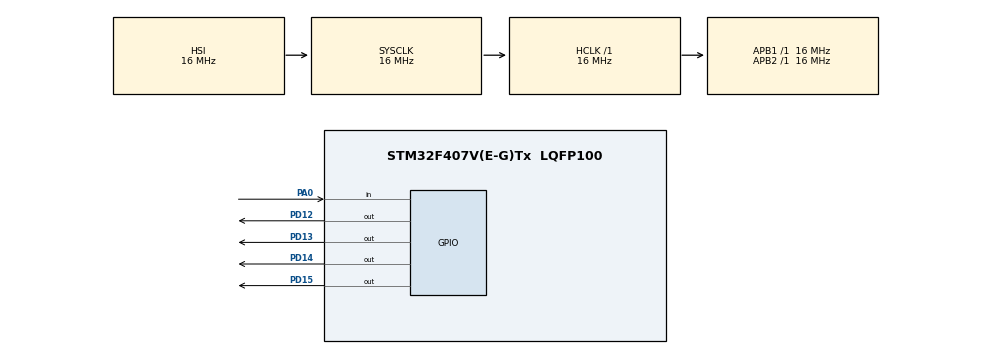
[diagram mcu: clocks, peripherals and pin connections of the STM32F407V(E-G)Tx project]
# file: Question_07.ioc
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ADC1.Channel-0\#ChannelRegularConversion=ADC_CHANNEL_TEMPSENSOR
ADC1.Channel-1\#ChannelRegularConversion=ADC_CHANNEL_TEMPSENSOR
ADC1.DMAContinuousRequests=ENABLE
ADC1.ExternalTrigConv=ADC_EXTERNALTRIGCONV_T2_TRGO
ADC1.NbrOfConversion=2
ADC1.NbrOfConversionFlag=1
ADC1.Rank-0\#ChannelRegularConversion=1
ADC1.Rank-1\#ChannelRegularConversion=2
ADC1.SamplingTime-0\#ChannelRegularConversion=ADC_SAMPLETIME_480CYCLES
ADC1.SamplingTime-1\#ChannelRegularConversion=ADC_SAMPLETIME_480CYCLES
ADC1.ScanConvMode=ENABLE
ADC1.master=1
Dma.ADC1.0.Direction=DMA_PERIPH_TO_MEMORY
Dma.ADC1.0.FIFOMode=DMA_FIFOMODE_DISABLE
Dma.ADC1.0.Instance=DMA2_Stream0
Dma.ADC1.0.MemDataAlignment=DMA_MDATAALIGN_HALFWORD
Dma.ADC1.0.MemInc=DMA_MINC_ENABLE
Dma.ADC1.0.Mode=DMA_CIRCULAR
Dma.ADC1.0.PeriphDataAlignment=DMA_PDATAALIGN_HALFWORD
Dma.ADC1.0.PeriphInc=DMA_PINC_DISABLE
Dma.ADC1.0.Priority=DMA_PRIORITY_LOW
Dma.Request0=ADC1
Mcu.Family=STM32F4
Mcu.Name=STM32F407V(E-G)Tx
Mcu.Package=LQFP100
NVIC.DMA2_Stream0_IRQn=true\:0\:0\:false\:false\:true\:false\:true\:true
NVIC.PriorityGroup=NVIC_PRIORITYGROUP_4
PA0-WKUP.Signal=GPIO_Input
PD12.Signal=GPIO_Output
PD13.Signal=GPIO_Output
PD14.Signal=GPIO_Output
PD15.Signal=GPIO_Output
ProjectManager.HeapSize=0x200
ProjectManager.StackSize=0x400
ProjectManager.TargetToolchain=STM32CubeIDE
RCC.AHBFreq_Value=16000000
RCC.APB1Freq_Value=16000000
RCC.APB2Freq_Value=16000000
RCC.CortexFreq_Value=16000000
RCC.HSE_VALUE=25000000
RCC.HSI_VALUE=16000000
RCC.LSE_VALUE=32768
RCC.SYSCLKFreq_VALUE=16000000
RCC.VCOOutputFreq_Value=192000000
TIM2.Period=100
TIM2.Prescaler=16000
TIM2.TIM_MasterOutputTrigger=TIM_TRGO_UPDATE
VP_ADC1_TempSens_Input.Mode=IN-TempSens
VP_ADC1_Vref_Input.Mode=IN-Vrefint
VP_TIM2_VS_ClockSourceINT.Mode=Internal
board=custom

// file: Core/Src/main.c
/* USER CODE BEGIN Header */
/**
  ******************************************************************************
  * @file           : main.c
  * @brief          : Main program body
  ******************************************************************************
  * @attention
  *
  * Copyright (c) 2026 STMicroelectronics.
  * All rights reserved.
  *
  * This software is licensed under terms that can be found in the LICENSE file
  * in the root directory of this software component.
  * If no LICENSE file comes with this software, it is provided AS-IS.
  *
  ******************************************************************************
  */
/* USER CODE END Header */
#include "main.h"

/* USER CODE BEGIN PD */
#define VDDA       3.3f
#define V25        0.76f
#define AVG_SLOPE  0.0025f

#define TRANGE1    20.0f
#define TRANGE2    30.0f
#define TRANGE3    40.0f
#define TRANGE4    64.0f
#define THIGH      64.0f

/* USER CODE END PD */

ADC_HandleTypeDef hadc1;
DMA_HandleTypeDef hdma_adc1;

TIM_HandleTypeDef htim2;

/* USER CODE BEGIN PV */
uint16_t adc_buffer[32];

volatile uint32_t avg_temp = 0;
volatile uint32_t avg_vref = 0;
volatile float temp_celcius = 0.0f;

volatile uint8_t frozenMode = 0;
uint32_t last_btn_time = 0;
uint32_t blink_timer = 0;

uint8_t prev_btn_state;
uint8_t current_btn_state;

/* USER CODE END PV */

void SystemClock_Config(void);
static void MX_DMA_Init(void);
static void MX_GPIO_Init(void);
static void MX_ADC1_Init(void);
static void MX_TIM2_Init(void);

int main(void)
{

  /* MCU Configuration--------------------------------------------------------*/

  /* Reset of all peripherals, Initializes the Flash interface and the Systick. */
  HAL_Init();

  /* Configure the system clock */
  SystemClock_Config();

  /* Initialize all configured peripherals */
  MX_DMA_Init();
  MX_GPIO_Init();
  MX_ADC1_Init();
  MX_TIM2_Init();
  /* USER CODE BEGIN 2 */

  HAL_ADC_Start_DMA(&hadc1, (uint32_t *)adc_buffer, 32);
  HAL_TIM_Base_Start(&htim2);

  /* USER CODE END 2 */

  /* Infinite loop */
  /* USER CODE BEGIN WHILE */
  prev_btn_state = GPIO_PIN_RESET;

  while (1)
  {
    /* USER CODE END WHILE */

    /* USER CODE BEGIN 3 */

	  current_btn_state = HAL_GPIO_ReadPin(GPIOA, GPIO_PIN_0);

	  if(current_btn_state == GPIO_PIN_SET && prev_btn_state == GPIO_PIN_RESET)
	  {
		  if((HAL_GetTick() - last_btn_time) > 150)
		  {
			  frozenMode = !frozenMode;
			  last_btn_time = HAL_GetTick();
		  }
	  }
	  prev_btn_state = current_btn_state;

	  HAL_GPIO_WritePin(GPIOD, GPIO_PIN_12|GPIO_PIN_13|GPIO_PIN_14|GPIO_PIN_15, GPIO_PIN_RESET);

	  if(temp_celcius <= TRANGE1)
	  {
		  HAL_GPIO_WritePin(GPIOD, GPIO_PIN_12, GPIO_PIN_SET);
	  }
	  else if(temp_celcius <= TRANGE2)
	  {
		  HAL_GPIO_WritePin(GPIOD, GPIO_PIN_13, GPIO_PIN_SET);
	  }
	  else if(temp_celcius <= TRANGE3)
	  {
		  HAL_GPIO_WritePin(GPIOD, GPIO_PIN_14, GPIO_PIN_SET);
	  }
	  else if(temp_celcius <= TRANGE4)
	  {
		  HAL_GPIO_WritePin(GPIOD, GPIO_PIN_15, GPIO_PIN_SET);
	  }

	  if(temp_celcius >= THIGH)
	  {
		  if(HAL_GetTick() - blink_timer > 200)
		  {
			  HAL_GPIO_TogglePin(GPIOD, GPIO_PIN_14);
			  blink_timer = HAL_GetTick();
		  }
	  }

	  HAL_Delay(10);
  }
  /* USER CODE END 3 */
}

void SystemClock_Config(void)
{
  RCC_OscInitTypeDef RCC_OscInitStruct = {0};
  RCC_ClkInitTypeDef RCC_ClkInitStruct = {0};

  /** Configure the main internal regulator output voltage
  */
  __HAL_RCC_PWR_CLK_ENABLE();
  __HAL_PWR_VOLTAGESCALING_CONFIG(PWR_REGULATOR_VOLTAGE_SCALE1);

  /** Initializes the RCC Oscillators according to the specified parameters
  * in the RCC_OscInitTypeDef structure.
  */
  RCC_OscInitStruct.OscillatorType = RCC_OSCILLATORTYPE_HSI;
  RCC_OscInitStruct.HSIState = RCC_HSI_ON;
  RCC_OscInitStruct.HSICalibrationValue = RCC_HSICALIBRATION_DEFAULT;
  RCC_OscInitStruct.PLL.PLLState = RCC_PLL_NONE;
  if (HAL_RCC_OscConfig(&RCC_OscInitStruct) != HAL_OK)
  {
    Error_Handler();
  }

  /** Initializes the CPU, AHB and APB buses clocks
  */
  RCC_ClkInitStruct.ClockType = RCC_CLOCKTYPE_HCLK|RCC_CLOCKTYPE_SYSCLK
                              |RCC_CLOCKTYPE_PCLK1|RCC_CLOCKTYPE_PCLK2;
  RCC_ClkInitStruct.SYSCLKSource = RCC_SYSCLKSOURCE_HSI;
  RCC_ClkInitStruct.AHBCLKDivider = RCC_SYSCLK_DIV1;
  RCC_ClkInitStruct.APB1CLKDivider = RCC_HCLK_DIV1;
  RCC_ClkInitStruct.APB2CLKDivider = RCC_HCLK_DIV1;

  if (HAL_RCC_ClockConfig(&RCC_ClkInitStruct, FLASH_LATENCY_0) != HAL_OK)
  {
    Error_Handler();
  }
}

static void MX_ADC1_Init(void)
{

  ADC_ChannelConfTypeDef sConfig = {0};

  /** Configure the global features of the ADC (Clock, Resolution, Data Alignment and number of conversion)
  */
  hadc1.Instance = ADC1;
  hadc1.Init.ClockPrescaler = ADC_CLOCK_SYNC_PCLK_DIV2;
  hadc1.Init.Resolution = ADC_RESOLUTION_12B;
  hadc1.Init.ScanConvMode = ENABLE;
  hadc1.Init.ContinuousConvMode = DISABLE;
  hadc1.Init.DiscontinuousConvMode = DISABLE;
  hadc1.Init.ExternalTrigConvEdge = ADC_EXTERNALTRIGCONVEDGE_RISING;
  hadc1.Init.ExternalTrigConv = ADC_EXTERNALTRIGCONV_T2_TRGO;
  hadc1.Init.DataAlign = ADC_DATAALIGN_RIGHT;
  hadc1.Init.NbrOfConversion = 2;
  hadc1.Init.DMAContinuousRequests = ENABLE;
  hadc1.Init.EOCSelection = ADC_EOC_SINGLE_CONV;
  if (HAL_ADC_Init(&hadc1) != HAL_OK)
  {
    Error_Handler();
  }

  /** Configure for the selected ADC regular channel its corresponding rank in the sequencer and its sample time.
  */
  sConfig.Channel = ADC_CHANNEL_TEMPSENSOR;
  sConfig.Rank = 1;
  sConfig.SamplingTime = ADC_SAMPLETIME_480CYCLES;
  if (HAL_ADC_ConfigChannel(&hadc1, &sConfig) != HAL_OK)
  {
    Error_Handler();
  }

  /** Configure for the selected ADC regular channel its corresponding rank in the sequencer and its sample time.
  */
  sConfig.Rank = 2;
  if (HAL_ADC_ConfigChannel(&hadc1, &sConfig) != HAL_OK)
  {
    Error_Handler();
  }

}

static void MX_TIM2_Init(void)
{

  TIM_ClockConfigTypeDef sClockSourceConfig = {0};
  TIM_MasterConfigTypeDef sMasterConfig = {0};

  htim2.Instance = TIM2;
  htim2.Init.Prescaler = 16000;
  htim2.Init.CounterMode = TIM_COUNTERMODE_UP;
  htim2.Init.Period = 100;
  htim2.Init.ClockDivision = TIM_CLOCKDIVISION_DIV1;
  htim2.Init.AutoReloadPreload = TIM_AUTORELOAD_PRELOAD_DISABLE;
  if (HAL_TIM_Base_Init(&htim2) != HAL_OK)
  {
    Error_Handler();
  }
  sClockSourceConfig.ClockSource = TIM_CLOCKSOURCE_INTERNAL;
  if (HAL_TIM_ConfigClockSource(&htim2, &sClockSourceConfig) != HAL_OK)
  {
    Error_Handler();
  }
  sMasterConfig.MasterOutputTrigger = TIM_TRGO_UPDATE;
  sMasterConfig.MasterSlaveMode = TIM_MASTERSLAVEMODE_DISABLE;
  if (HAL_TIMEx_MasterConfigSynchronization(&htim2, &sMasterConfig) != HAL_OK)
  {
    Error_Handler();
  }

}

static void MX_DMA_Init(void)
{

  /* DMA controller clock enable */
  __HAL_RCC_DMA2_CLK_ENABLE();

  /* DMA interrupt init */
  /* DMA2_Stream0_IRQn interrupt configuration */
  HAL_NVIC_SetPriority(DMA2_Stream0_IRQn, 0, 0);
  HAL_NVIC_EnableIRQ(DMA2_Stream0_IRQn);

}

static void MX_GPIO_Init(void)
{
  GPIO_InitTypeDef GPIO_InitStruct = {0};

  /* GPIO Ports Clock Enable */
  __HAL_RCC_GPIOA_CLK_ENABLE();
  __HAL_RCC_GPIOD_CLK_ENABLE();

  /*Configure GPIO pin Output Level */
  HAL_GPIO_WritePin(GPIOD, GPIO_PIN_12|GPIO_PIN_13|GPIO_PIN_14|GPIO_PIN_15, GPIO_PIN_RESET);

  /*Configure GPIO pin : PA0 */
  GPIO_InitStruct.Pin = GPIO_PIN_0;
  GPIO_InitStruct.Mode = GPIO_MODE_INPUT;
  GPIO_InitStruct.Pull = GPIO_NOPULL;
  HAL_GPIO_Init(GPIOA, &GPIO_InitStruct);

  /*Configure GPIO pins : PD12 PD13 PD14 PD15 */
  GPIO_InitStruct.Pin = GPIO_PIN_12|GPIO_PIN_13|GPIO_PIN_14|GPIO_PIN_15;
  GPIO_InitStruct.Mode = GPIO_MODE_OUTPUT_PP;
  GPIO_InitStruct.Pull = GPIO_NOPULL;
  GPIO_InitStruct.Speed = GPIO_SPEED_FREQ_LOW;
  HAL_GPIO_Init(GPIOD, &GPIO_InitStruct);

}

/* USER CODE BEGIN 4 */
void HAL_ADC_ConvCpltCallback(ADC_HandleTypeDef *hadc)
{
	if(hadc->Instance == ADC1)
	{
		if(!frozenMode)
		{
			uint32_t sum_temp = 0;
			uint32_t sum_vref = 0;

			for(int i = 0;i<32;i+=2)
			{
				sum_temp += adc_buffer[i];
				sum_vref += adc_buffer[i+1];
			}

			avg_temp = sum_temp / 16;
			avg_vref = sum_vref / 16;

			float vsense = ((float)avg_temp * VDDA )/4095.0f;

			temp_celcius = ((vsense - V25) / AVG_SLOPE) + 25.0f;

		}

	}
}

/* USER CODE END 4 */

void Error_Handler(void)
{
  __disable_irq();
  while (1)
  {
  }
}
